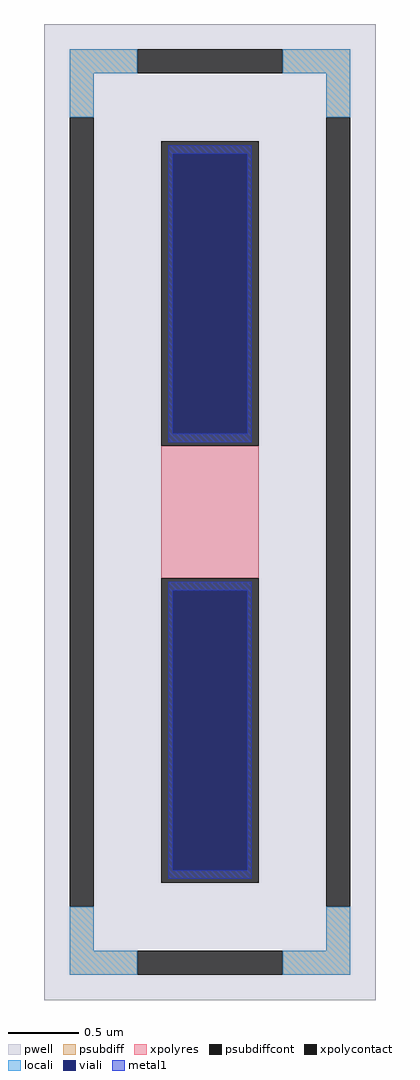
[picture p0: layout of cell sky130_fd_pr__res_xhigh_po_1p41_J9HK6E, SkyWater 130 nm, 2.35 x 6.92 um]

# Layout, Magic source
magic
tech sky130A
magscale 1 2
<< pwell >>
rect -235 -692 235 692
<< psubdiff >>
rect -199 622 -103 656
rect 103 622 199 656
rect -199 560 -165 622
rect 165 560 199 622
rect -199 -622 -165 -560
rect 165 -622 199 -560
rect -199 -656 -103 -622
rect 103 -656 199 -622
<< psubdiffcont >>
rect -103 622 103 656
rect -199 -560 -165 560
rect 165 -560 199 560
rect -103 -656 103 -622
<< xpolycontact >>
rect -69 94 69 526
rect -69 -526 69 -94
<< xpolyres >>
rect -69 -94 69 94
<< locali >>
rect -199 622 -103 656
rect 103 622 199 656
rect -199 560 -165 622
rect 165 560 199 622
rect -199 -622 -165 -560
rect 165 -622 199 -560
rect -199 -656 -103 -622
rect 103 -656 199 -622
<< viali >>
rect -53 111 53 508
rect -53 -508 53 -111
<< metal1 >>
rect -59 508 59 520
rect -59 111 -53 508
rect 53 111 59 508
rect -59 99 59 111
rect -59 -111 59 -99
rect -59 -508 -53 -111
rect 53 -508 59 -111
rect -59 -520 59 -508
<< properties >>
string FIXED_BBOX -182 -639 182 639
string gencell sky130_fd_pr__res_xhigh_po_1p41
string library sky130
string parameters w 0.690 l 1.1 m 1 nx 1 wmin 0.690 lmin 0.50 rho 2000 val 3.733k dummy 0 dw 0.0 term 188.2 sterm 0.0 caplen 0 wmax 0.690 guard 1 glc 1 grc 1 gtc 1 gbc 1 compatible {sky130_fd_pr__res_xhigh_po_0p35  sky130_fd_pr__res_xhigh_po_0p69 sky130_fd_pr__res_xhigh_po_1p41  sky130_fd_pr__res_xhigh_po_2p85 sky130_fd_pr__res_xhigh_po_5p73} snake 0 full_metal 1 n_guard 0 hv_guard 0 vias 1 viagb 0 viagt 0 viagl 0 viagr 0
<< end >>
